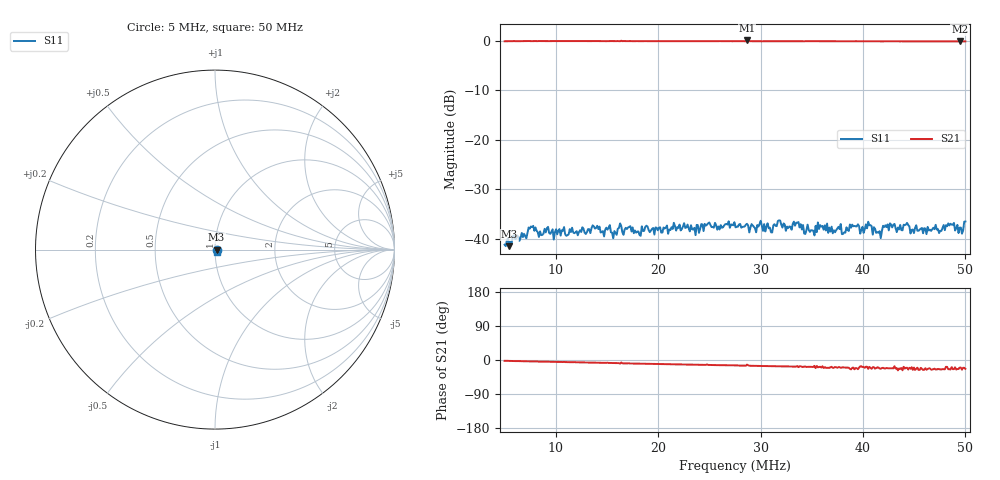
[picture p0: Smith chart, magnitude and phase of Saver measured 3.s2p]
# HZ S RI R 50
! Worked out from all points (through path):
!   404 points, 5 MHz to 50 MHz, reference 50 ohm
!   highest |S21| = 0.11 dB at 28.67 MHz (marker M1); lowest = -0.1 dB at 49.44 MHz (marker M2)
!   group delay of S21, straight-line fit = 1.39 ns
!   lowest |S11| = -41.5 dB at 5.447 MHz (marker M3), VSWR 1.02, Z = 50.8 - j0.00699 ohm
!   |S11| at or under -10 dB: start of sweep to end of sweep
!   S12 and S22 are empty: the file has one direction only
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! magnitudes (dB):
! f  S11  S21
! 5 MHz  -41.2  -0.1
! 5.447 MHz  -41.5  -0.1
! 7.01 MHz  -39.5  0.0
! 7.568 MHz  -37.5  0.0
! 8.573 MHz  -39.3  0.0
! 12.59 MHz  -37.7  0.0
! 20.07 MHz  -37.8  0.0
! 27.56 MHz  -37.7  0.0
! 28.67 MHz  -37.0  0.1
! 31.02 MHz  -38.7  -0.1
! 31.69 MHz  -36.4  -0.1
! 33.47 MHz  -36.8  -0.1
! 35.04 MHz  -38.3  -0.1
! 35.82 MHz  -37.3  -0.1
! 38.16 MHz  -38.8  -0.1
! 40.51 MHz  -36.6  -0.1
! 41.51 MHz  -38.8  -0.1
! 42.52 MHz  -38.3  -0.1
! 47.43 MHz  -38.9  -0.1
! 48.66 MHz  -37.2  -0.1
! 49.44 MHz  -37.8  -0.1
! 50 MHz  -36.5  -0.1
